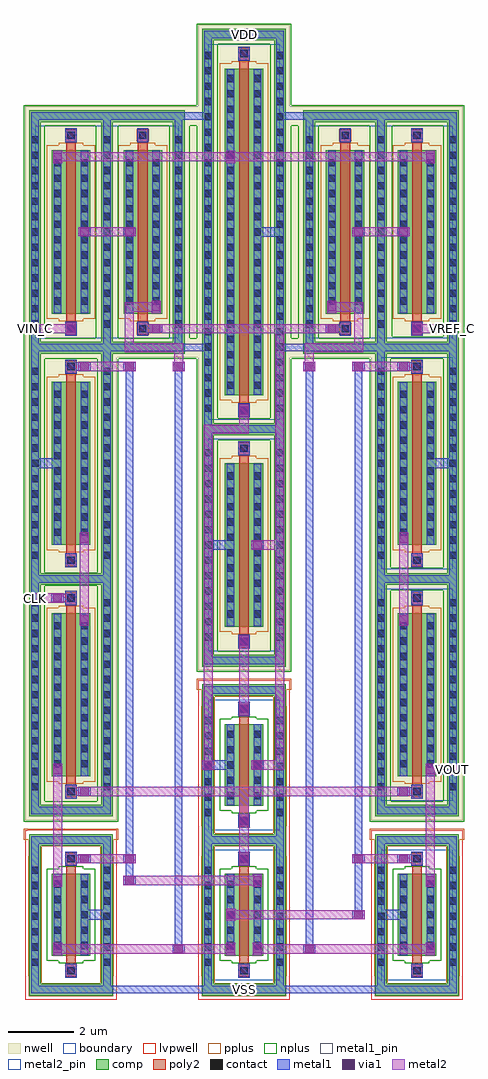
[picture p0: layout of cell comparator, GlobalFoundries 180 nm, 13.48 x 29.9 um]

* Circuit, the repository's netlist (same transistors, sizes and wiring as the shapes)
* NGSPICE file created from comparator.ext - technology: gf180mcuD

.subckt pfet_03v3_7DYXYB a_n118_n500# a_30_n500# a_n36_n629# w_n280_n769#
X0 a_30_n500# a_n36_n629# a_n118_n500# w_n280_n769# pfet_03v3 ad=2.2p pd=10.88u as=2.2p ps=10.88u w=5u l=0.3u
.ends

.subckt nfet_03v3_X7Z8VV a_n256_n495# a_30_n250# a_n36_n379# a_n118_n250#
X0 a_30_n250# a_n36_n379# a_n118_n250# a_n256_n495# nfet_03v3 ad=1.1p pd=5.88u as=1.1p ps=5.88u w=2.5u l=0.3u
.ends

.subckt pfet_03v3_QPXSGW a_30_n1000# w_n280_n1269# a_n118_n1000# a_n36_n1129#
X0 a_30_n1000# a_n36_n1129# a_n118_n1000# w_n280_n1269# pfet_03v3 ad=4.4p pd=20.88u as=4.4p ps=20.88u w=10u l=0.3u
.ends

.subckt comparator VSS VREF_C VIN_C CLK VOUT VDD
Xpfet_03v3_7DYXYB_0 m1_3659_3991# VOUT CLK VDD pfet_03v3_7DYXYB
Xpfet_03v3_7DYXYB_1 m1_3659_3991# VDD a_1529_1971# VDD pfet_03v3_7DYXYB
Xpfet_03v3_7DYXYB_2 VOUT m1_3371_6379# a_2051_5776# VDD pfet_03v3_7DYXYB
Xpfet_03v3_7DYXYB_3 m1_3371_6379# a_1529_5905# VREF_C VDD pfet_03v3_7DYXYB
Xpfet_03v3_7DYXYB_4 VDD a_2051_5776# CLK VDD pfet_03v3_7DYXYB
Xpfet_03v3_7DYXYB_5 a_1529_1971# a_1677_5905# a_2051_5776# VDD pfet_03v3_7DYXYB
Xnfet_03v3_X7Z8VV_0 VSS VOUT a_1529_1971# VSS nfet_03v3_X7Z8VV
Xpfet_03v3_7DYXYB_6 a_1677_5905# a_1529_5905# VIN_C VDD pfet_03v3_7DYXYB
Xnfet_03v3_X7Z8VV_1 VSS a_2051_5776# CLK VSS nfet_03v3_X7Z8VV
Xnfet_03v3_X7Z8VV_2 VSS VOUT CLK a_1529_1971# nfet_03v3_X7Z8VV
Xpfet_03v3_QPXSGW_0 VDD VDD a_1529_5905# VSS pfet_03v3_QPXSGW
X0 a_1677_3069# VOUT VDD VDD pfet_03v3 ad=2.2p pd=10.88u as=2.2p ps=10.88u w=5u l=0.3u
X1 a_1677_3069# CLK a_1529_1971# VDD pfet_03v3 ad=2.2p pd=10.88u as=2.2p ps=10.88u w=5u l=0.3u
X2 VSS VOUT a_1529_1971# VSS nfet_03v3 ad=1.1p pd=5.88u as=1.1p ps=5.88u w=2.5u l=0.3u
.ends

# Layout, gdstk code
from math import pi, radians
import gdstk
lib = gdstk.Library(unit=1e-6, precision=1e-09)
def R(c, l, rs):  # rectangles x0, y0, x1, y1
    for r in rs: c.add(gdstk.rectangle(r[:2], r[2:], *l))
def A(c, l, x, y, w, h, nx, ny, dx, dy):  # array of equal rectangles
    R(c, l, [(x+i*dx, y+j*dy, x+i*dx+w, y+j*dy+h) for i in range(nx) for j in range(ny)])
boundary = (0, 0)
nwell = (21, 0)
comp = (22, 0)
poly2 = (30, 0)
pplus = (31, 0)
nplus = (32, 0)
contact = (33, 0)
metal1 = (34, 0)
metal1_pin = (34, 10)
via1 = (35, 0)
metal2 = (36, 0)
metal2_pin = (36, 10)
lvpwell = (204, 0)

nfet_03v3_x7z8vv = lib.new_cell('nfet_03v3_X7Z8VV')
R(nfet_03v3_x7z8vv, boundary, [(-1.1,-2,1.1,2)])
R(nfet_03v3_x7z8vv, comp, [(-1.28,-2.475,1.28,-2.115), (-1.28,-2.115,-0.92,2.115), (0.92,-2.115,1.28,2.115), (-0.59,-1.25,0.59,1.25), (-1.28,2.115,1.28,2.475)])
R(nfet_03v3_x7z8vv, poly2, [(-0.18,-1.895,0.18,-1.535), (-0.15,-1.535,0.15,1.535), (-0.18,1.535,0.18,1.895)])
R(nfet_03v3_x7z8vv, pplus, [(-1.3,-2.495,1.3,-2.095), (-1.3,-2.095,-0.89,-1.88), (0.89,-2.095,1.3,-1.88), (-1.31,-1.88,-0.89,1.795), (0.89,-1.88,1.31,1.795), (-1.3,1.795,-0.89,2.095), (0.89,1.795,1.3,2.095), (-1.3,2.095,1.3,2.495)])
R(nfet_03v3_x7z8vv, nplus, [(-0.38,-1.48,0.38,-1.41), (-0.75,-1.41,0.75,1.41), (-0.38,1.41,0.38,1.48)])
A(nfet_03v3_x7z8vv, contact, -1.21, -1.565, 0.22, 0.22, 1, 7, 0, 0.47)
A(nfet_03v3_x7z8vv, contact, 0.99, -1.565, 0.22, 0.22, 1, 7, 0, 0.47)
A(nfet_03v3_x7z8vv, contact, -0.52, -1.05, 0.22, 0.22, 1, 5, 0, 0.47)
A(nfet_03v3_x7z8vv, contact, 0.3, -1.05, 0.22, 0.22, 1, 5, 0, 0.47)
R(nfet_03v3_x7z8vv, contact, [(-0.11,-1.825,0.11,-1.605), (-0.11,1.605,0.11,1.825)])
R(nfet_03v3_x7z8vv, metal1, [(-1.215,-2.41,1.215,-2.18), (-1.215,-2.18,-0.985,2.18), (0.985,-2.18,1.215,2.18), (-0.17,-1.93,0.17,-1.5), (-0.525,-1.24,-0.295,1.24), (0.295,-1.24,0.525,1.24), (-0.17,1.5,0.17,1.93), (-1.215,2.18,1.215,2.41)])
R(nfet_03v3_x7z8vv, lvpwell, [(-1.4,-2.595,1.4,2.595)])

pfet_03v3_7dyxyb = lib.new_cell('pfet_03v3_7DYXYB')
R(pfet_03v3_7dyxyb, boundary, [(-1.1,-3.25,1.1,3.25)])
R(pfet_03v3_7dyxyb, nwell, [(-1.4,-3.845,1.4,3.845)])
R(pfet_03v3_7dyxyb, comp, [(-1.28,-3.725,1.28,-3.365), (-1.28,-3.365,-0.92,3.365), (0.92,-3.365,1.28,3.365), (-0.59,-2.5,0.59,2.5), (-1.28,3.365,1.28,3.725)])
R(pfet_03v3_7dyxyb, poly2, [(-0.18,-3.145,0.18,-2.785), (-0.15,-2.785,0.15,2.785), (-0.18,2.785,0.18,3.145)])
R(pfet_03v3_7dyxyb, pplus, [(-0.38,-2.73,0.38,-2.66), (-0.75,-2.66,0.75,2.66), (-0.38,2.66,0.38,2.73)])
R(pfet_03v3_7dyxyb, nplus, [(-1.44,-3.885,1.44,-3.255), (-1.44,-3.255,-0.81,3.255), (0.81,-3.255,1.44,3.255), (-1.44,3.255,1.44,3.885)])
A(pfet_03v3_7dyxyb, contact, -1.21, -2.93, 0.22, 0.22, 1, 13, 0, 0.47)
A(pfet_03v3_7dyxyb, contact, 0.99, -2.93, 0.22, 0.22, 1, 13, 0, 0.47)
A(pfet_03v3_7dyxyb, contact, -0.52, -2.225, 0.22, 0.22, 1, 10, 0, 0.47)
A(pfet_03v3_7dyxyb, contact, 0.3, -2.225, 0.22, 0.22, 1, 10, 0, 0.47)
R(pfet_03v3_7dyxyb, contact, [(-0.11,-3.075,0.11,-2.855), (-0.11,2.855,0.11,3.075)])
R(pfet_03v3_7dyxyb, metal1, [(-1.215,-3.66,1.215,-3.43), (-1.215,-3.43,-0.985,3.43), (0.985,-3.43,1.215,3.43), (-0.17,-3.18,0.17,-2.75), (-0.525,-2.49,-0.295,2.49), (0.295,-2.49,0.525,2.49), (-0.17,2.75,0.17,3.18), (-1.215,3.43,1.215,3.66)])

pfet_03v3_qpxsgw = lib.new_cell('pfet_03v3_QPXSGW')
R(pfet_03v3_qpxsgw, boundary, [(-1.1,-5.75,1.1,5.75)])
R(pfet_03v3_qpxsgw, nwell, [(-1.4,-6.345,1.4,6.345)])
R(pfet_03v3_qpxsgw, comp, [(-1.28,-6.225,1.28,-5.865), (-1.28,-5.865,-0.92,5.865), (0.92,-5.865,1.28,5.865), (-0.59,-5,0.59,5), (-1.28,5.865,1.28,6.225)])
R(pfet_03v3_qpxsgw, poly2, [(-0.18,-5.645,0.18,-5.285), (-0.15,-5.285,0.15,5.285), (-0.18,5.285,0.18,5.645)])
R(pfet_03v3_qpxsgw, pplus, [(-0.38,-5.23,0.38,-5.16), (-0.75,-5.16,0.75,5.16), (-0.38,5.16,0.38,5.23)])
R(pfet_03v3_qpxsgw, nplus, [(-1.44,-6.385,1.44,-5.755), (-1.44,-5.755,-0.81,5.755), (0.81,-5.755,1.44,5.755), (-1.44,5.755,1.44,6.385)])
A(pfet_03v3_qpxsgw, contact, -1.21, -5.515, 0.22, 0.22, 1, 24, 0, 0.47)
A(pfet_03v3_qpxsgw, contact, 0.99, -5.515, 0.22, 0.22, 1, 24, 0, 0.47)
A(pfet_03v3_qpxsgw, contact, -0.52, -4.81, 0.22, 0.22, 1, 21, 0, 0.47)
A(pfet_03v3_qpxsgw, contact, 0.3, -4.81, 0.22, 0.22, 1, 21, 0, 0.47)
R(pfet_03v3_qpxsgw, contact, [(-0.11,-5.575,0.11,-5.355), (-0.11,5.355,0.11,5.575)])
R(pfet_03v3_qpxsgw, metal1, [(-1.215,-6.16,1.215,-5.93), (-1.215,-5.93,-0.985,5.93), (0.985,-5.93,1.215,5.93), (-0.17,-5.68,0.17,-5.25), (-0.525,-4.99,-0.295,4.99), (0.295,-4.99,0.525,4.99), (-0.17,5.25,0.17,5.68), (-1.215,5.93,1.215,6.16)])

comparator = lib.new_cell('comparator')
R(comparator, nwell, [(6.835,14,9.635,28.18), (6.835,28.18,12.155,35.87), (14.915,28.18,15.235,35.87)])
A(comparator, comp, 7.645, 15.345, 1.18, 5, 1, 3, 0, 7.09)
A(comparator, comp, 6.955, 28.66, 0.36, 6.73, 3, 1, 2.2, 0)
R(comparator, comp, [(6.955,8.63,9.515,8.99), (6.955,8.99,7.315,13.22), (9.155,8.99,9.515,13.22), (7.645,9.855,8.825,12.355), (6.955,13.22,9.515,13.58), (6.955,14.12,9.515,14.48), (6.955,14.48,7.315,21.21), (9.155,14.48,9.515,21.21), (6.955,21.21,9.515,21.57), (6.955,21.57,7.315,28.3), (9.155,21.57,9.515,28.3), (6.955,28.3,11.715,28.66), (9.845,29.525,11.025,34.525), (6.955,35.39,11.715,35.75)])
A(comparator, poly2, 8.085, 15.06, 0.3, 5.57, 1, 3, 0, 7.09)
R(comparator, poly2, [(8.055,9.21,8.415,9.57), (8.085,9.57,8.385,12.64), (8.055,12.64,8.415,13), (8.055,14.7,8.415,15.06), (8.055,20.63,8.415,20.99), (8.055,21.79,8.415,22.15), (8.055,27.72,8.415,28.08), (8.055,28.88,8.415,29.24), (10.255,28.88,10.615,29.24), (10.285,29.24,10.585,34.81), (8.055,34.81,8.415,35.17), (10.255,34.81,10.615,35.17)])
A(comparator, pplus, 7.485, 15.185, 1.5, 5.32, 1, 3, 0, 7.09)
R(comparator, pplus, [(6.935,8.61,9.535,9.01), (6.935,9.01,7.345,9.225), (9.125,9.01,9.535,9.225), (6.925,9.225,7.345,12.9), (9.125,9.225,9.545,12.9), (6.935,12.9,7.345,13.2), (9.125,12.9,9.535,13.2), (6.935,13.2,9.535,13.41), (6.795,13.41,9.675,13.74), (17.395,13.41,17.535,13.6), (20.135,13.41,20.275,13.6), (17.395,13.6,20.275,13.74), (7.855,15.115,8.615,15.185), (12.095,18,12.235,18.19), (14.835,18,14.975,18.19), (12.095,18.19,14.975,18.33), (7.855,20.505,8.615,20.575), (7.855,22.205,8.615,22.275), (7.855,27.595,8.615,27.665), (7.855,29.295,8.615,29.365), (10.055,29.295,10.815,29.365), (9.685,29.365,11.185,34.685), (7.855,34.685,8.615,34.755), (10.055,34.685,10.815,34.755)])
R(comparator, nplus, [(7.855,9.625,8.615,9.695), (7.485,9.695,8.985,12.515), (7.855,12.515,8.615,12.585), (6.795,13.96,9.675,14.59), (6.795,14.59,7.425,21.19), (9.045,14.59,9.675,21.19), (6.795,21.19,9.675,21.59), (6.795,21.59,7.425,28.28), (9.045,21.59,9.675,28.14), (9.045,28.14,12.095,28.28), (14.975,28.14,15.195,28.77), (6.795,28.28,12.095,28.68), (6.795,28.68,7.425,35.28), (9.045,28.68,12.095,28.77), (9.125,28.77,9.545,35.28), (11.325,28.77,11.745,35.28), (6.795,35.28,12.095,35.91), (14.975,35.28,15.195,35.91)])
A(comparator, contact, 7.025, 9.54, 0.22, 0.22, 1, 7, 0, 0.47)
A(comparator, contact, 9.225, 9.54, 0.22, 0.22, 1, 7, 0, 0.47)
A(comparator, contact, 7.715, 10.055, 0.22, 0.22, 1, 5, 0, 0.47)
A(comparator, contact, 8.535, 10.055, 0.22, 0.22, 1, 5, 0, 0.47)
A(comparator, contact, 7.025, 14.915, 0.22, 0.22, 1, 13, 0, 0.47)
A(comparator, contact, 9.225, 14.915, 0.22, 0.22, 1, 13, 0, 0.47)
A(comparator, contact, 7.715, 15.62, 0.22, 0.22, 1, 10, 0, 0.47)
A(comparator, contact, 8.535, 15.62, 0.22, 0.22, 1, 10, 0, 0.47)
A(comparator, contact, 7.025, 22.005, 0.22, 0.22, 1, 13, 0, 0.47)
A(comparator, contact, 9.225, 22.005, 0.22, 0.22, 1, 13, 0, 0.47)
A(comparator, contact, 7.715, 22.71, 0.22, 0.22, 1, 10, 0, 0.47)
A(comparator, contact, 8.535, 22.71, 0.22, 0.22, 1, 10, 0, 0.47)
A(comparator, contact, 7.025, 29.095, 0.22, 0.22, 3, 13, 2.2, 0.47)
A(comparator, contact, 7.715, 29.8, 0.22, 0.22, 1, 10, 0, 0.47)
A(comparator, contact, 8.535, 29.8, 0.22, 0.22, 1, 10, 0, 0.47)
A(comparator, contact, 9.915, 29.8, 0.22, 0.22, 1, 10, 0, 0.47)
A(comparator, contact, 10.735, 29.8, 0.22, 0.22, 1, 10, 0, 0.47)
R(comparator, contact, [(8.125,9.28,8.345,9.5), (8.125,12.71,8.345,12.93), (8.125,14.77,8.345,14.99), (8.125,20.7,8.345,20.92), (8.125,21.86,8.345,22.08), (8.125,27.79,8.345,28.01), (8.125,28.95,8.345,29.17), (10.325,28.95,10.545,29.17), (8.125,34.88,8.345,35.1), (10.325,34.88,10.545,35.1)])
A(comparator, metal1, 7.02, 28.595, 0.23, 6.86, 3, 1, 2.2, 0)
R(comparator, metal1, [(7.02,8.695,18.91,8.925), (7.02,8.925,7.25,13.285), (9.22,8.925,9.45,10.955), (8.065,9.175,8.405,9.605), (7.695,9.865,7.955,10.245), (8.53,9.865,8.76,10.955), (12.995,9.865,13.255,10.245), (13.815,9.865,14.075,10.245), (19.115,9.865,19.375,10.245), (11.345,9.925,11.725,10.185), (15.345,9.925,15.725,10.185), (11.42,10.185,11.65,27.77), (15.42,10.185,15.65,27.77), (7.71,10.245,7.94,11.965), (12.995,10.915,13.27,11.295), (8.53,10.955,9.45,11.255), (17.715,10.955,18.32,11.255), (16.855,10.975,17.235,11.235), (16.93,11.235,17.16,12.69), (8.53,11.255,8.76,12.345), (9.22,11.255,9.45,13.285), (7.695,11.965,7.955,12.345), (13.815,11.965,14.075,12.345), (19.115,11.965,19.375,12.345), (9.835,12.025,10.215,12.285), (9.91,12.285,10.14,12.69), (8.065,12.605,8.405,12.69), (8.065,12.69,8.835,12.95), (9.835,12.69,10.215,12.95), (13.405,12.69,13.665,12.95), (16.855,12.69,17.235,12.95), (18.235,12.69,18.79,12.955), (8.065,12.95,8.405,13.035), (9.91,12.95,10.14,27.77), (16.93,12.95,17.16,27.77), (7.02,13.285,9.45,13.515), (13.405,13.85,13.665,14.11), (7.02,14.185,9.45,14.415), (7.02,14.415,7.25,21.275), (9.22,14.415,9.45,21.275), (8.065,14.665,8.405,14.75), (8.065,14.75,8.835,15.01), (18.235,14.75,18.69,15.01), (8.065,15.01,8.405,15.095), (7.695,15.355,7.955,15.735), (8.53,15.355,8.76,19.955), (19.115,15.355,19.375,15.735), (12.44,15.545,13.145,15.565), (12.245,15.565,13.145,15.695), (13.755,15.565,14.135,15.825), (12.245,15.695,13.15,15.825), (7.71,15.735,7.94,20.335), (12.445,15.825,13.15,15.845), (13.405,17.28,13.665,17.54), (13.405,19.34,13.665,19.6), (8.515,19.955,8.775,20.335), (18.295,19.955,18.555,20.335), (8.065,20.595,8.405,20.68), (7.635,20.68,8.405,20.94), (8.065,20.94,8.405,21.025), (7.02,21.275,9.45,21.505), (7.02,21.505,7.25,24.785), (9.22,21.505,9.45,28.365), (8.065,21.755,8.405,22.185), (12.425,22.285,13.14,22.435), (13.755,22.305,14.135,22.565), (12.43,22.435,13.145,22.585), (7.71,22.445,7.94,24.785), (8.515,22.445,8.775,22.825), (18.295,22.445,18.555,22.825), (8.53,22.825,8.76,27.425), (7.02,24.785,7.94,25.085), (19.33,24.785,19.88,25.085), (7.02,25.085,7.25,28.365), (7.71,25.085,7.94,27.425), (13.405,26.43,13.665,26.69), (8.065,27.685,8.405,27.77), (8.065,27.77,8.835,28.03), (9.835,27.77,10.215,28.03), (11.345,27.77,11.725,28.03), (15.345,27.77,15.725,28.03), (16.855,27.77,17.235,28.03), (18.235,27.77,18.68,28.03), (8.065,28.03,8.405,28.115), (7.02,28.365,12.51,28.595), (14.535,28.365,15.455,28.595), (8.065,28.845,8.405,29.275), (10.265,28.845,10.605,28.93), (10.265,28.93,11.035,29.19), (16.035,28.93,16.47,29.19), (18.705,28.93,18.965,29.19), (10.265,29.19,10.605,29.275), (7.71,29.535,7.94,34.135), (8.53,29.535,8.76,31.895), (9.91,29.535,10.14,31.895), (10.715,29.535,10.975,29.915), (16.095,29.535,16.355,29.915), (10.73,29.915,10.96,34.515), (13.83,31.875,14.53,32.175), (8.455,31.895,8.835,32.155), (9.835,31.895,10.215,32.155), (16.855,31.895,17.235,32.155), (18.235,31.895,18.615,32.155), (8.53,32.155,8.76,34.515), (9.91,32.155,10.14,34.515), (7.695,34.135,7.955,34.515), (12.995,34.135,13.255,34.515), (19.115,34.135,19.375,34.515), (8.065,34.775,8.405,35.205), (10.265,34.775,10.605,35.205), (7.02,35.455,12.32,35.685), (14.73,35.455,15.65,35.685), (13.42,37.955,13.65,38.185)])
R(comparator, metal1_pin, [(13.42,8.695,13.65,8.925), (13.42,37.955,13.65,38.185)])
A(comparator, via1, 9.895, 12.69, 0.26, 0.26, 3, 1, 3.51, 0)
R(comparator, via1, [(7.695,9.925,7.955,10.185), (11.405,9.925,11.665,10.185), (12.995,9.925,13.255,10.185), (13.815,9.925,14.075,10.185), (15.405,9.925,15.665,10.185), (19.115,9.925,19.375,10.185), (13,10.975,13.26,11.235), (16.915,10.975,17.175,11.235), (7.695,12.025,7.955,12.285), (9.895,12.025,10.155,12.285), (13.815,12.025,14.075,12.285), (19.115,12.025,19.375,12.285), (8.515,12.69,8.775,12.95), (18.295,12.69,18.555,12.95), (13.405,13.85,13.665,14.11), (8.515,14.75,8.775,15.01), (18.295,14.75,18.555,15.01), (7.695,15.415,7.955,15.675), (19.115,15.415,19.375,15.675), (12.305,15.565,12.565,15.825), (13.815,15.565,14.075,15.825), (13.405,17.28,13.665,17.54), (13.405,19.34,13.665,19.6), (8.515,20.015,8.775,20.275), (18.295,20.015,18.555,20.275), (7.695,20.68,7.955,20.94), (13.815,22.305,14.075,22.565), (8.515,22.505,8.775,22.765), (18.295,22.505,18.555,22.765), (13.405,26.43,13.665,26.69), (8.515,27.77,8.775,28.03), (9.895,27.77,10.155,28.03), (11.405,27.77,11.665,28.03), (15.405,27.77,15.665,28.03), (16.915,27.77,17.175,28.03), (18.295,27.77,18.555,28.03), (8.105,28.93,8.365,29.19), (10.715,28.93,10.975,29.19), (16.095,28.93,16.355,29.19), (18.705,28.93,18.965,29.19), (10.715,29.595,10.975,29.855), (16.095,29.595,16.355,29.855), (8.515,31.895,8.775,32.155), (9.895,31.895,10.155,32.155), (16.915,31.895,17.175,32.155), (18.295,31.895,18.555,32.155), (7.695,34.195,7.955,34.455), (12.995,34.195,13.255,34.455), (19.115,34.195,19.375,34.455)])
R(comparator, metal2, [(7.685,9.865,7.965,9.915), (12.985,9.865,13.265,9.915), (13.805,9.865,14.085,9.915), (19.105,9.865,19.385,9.915), (7.685,9.915,13.265,10.195), (13.805,9.915,19.385,10.195), (7.685,10.195,7.965,10.245), (12.985,10.195,13.265,10.245), (13.805,10.195,14.085,10.245), (19.105,10.195,19.385,10.245), (12.985,10.915,13.28,10.965), (12.985,10.965,17.235,11.245), (12.985,11.245,13.28,11.295), (7.685,11.965,7.965,15.735), (13.805,11.965,14.085,12.015), (19.105,11.965,19.385,15.405), (9.835,12.015,14.085,12.295), (13.805,12.295,14.085,12.345), (13.395,12.63,13.675,14.74), (8.455,12.68,10.215,12.96), (16.855,12.68,18.615,12.96), (8.455,14.74,18.615,15.02), (19.105,15.405,20.075,15.685), (12.245,15.555,12.625,15.835), (13.755,15.555,14.775,15.835), (19.105,15.685,19.385,15.735), (12.295,15.835,12.575,25.84), (14.495,15.835,14.775,22.295), (13.395,17.22,13.675,19.66), (8.505,19.955,8.785,22.825), (18.285,19.955,18.565,22.825), (6.995,20.67,8.015,20.95), (13.755,22.295,14.775,22.575), (14.495,22.575,14.775,28.92), (12.295,25.84,13.675,26.12), (13.395,26.12,13.675,26.75), (8.455,27.76,10.215,28.04), (11.345,27.76,11.725,28.04), (15.345,27.76,15.725,28.04), (16.855,27.76,18.615,28.04), (11.395,28.04,11.675,28.34), (15.395,28.04,15.675,28.34), (9.885,28.34,11.675,28.62), (15.395,28.34,17.185,28.62), (9.885,28.62,10.165,29.585), (16.905,28.62,17.185,29.585), (8.095,28.87,8.375,28.92), (18.695,28.87,18.975,28.92), (6.995,28.92,8.375,29.2), (10.655,28.92,16.415,29.2), (18.695,28.92,20.075,29.2), (8.095,29.2,8.375,29.25), (18.695,29.2,18.975,29.25), (10.705,29.535,10.985,29.585), (16.085,29.535,16.365,29.585), (9.885,29.585,10.985,29.865), (16.085,29.585,17.185,29.865), (10.705,29.865,10.985,29.915), (16.085,29.865,16.365,29.915), (8.455,31.885,10.215,32.165), (16.855,31.885,18.615,32.165), (7.685,34.135,7.965,34.185), (12.985,34.135,13.265,34.185), (19.105,34.135,19.385,34.185), (7.685,34.185,19.385,34.465), (7.685,34.465,7.965,34.515), (12.985,34.465,13.265,34.515), (19.105,34.465,19.385,34.515)])
R(comparator, metal2_pin, [(19.795,15.405,20.075,15.685), (6.995,20.67,7.275,20.95), (6.995,28.92,7.275,29.2), (19.795,28.92,20.075,29.2)])
R(comparator, lvpwell, [(6.835,8.51,9.635,13.7), (6.915,13.7,9.635,13.705)])
comparator.add(gdstk.Reference(nfet_03v3_x7z8vv, (13.535,15.695)))
comparator.add(gdstk.Reference(nfet_03v3_x7z8vv, (13.535,11.105)))
comparator.add(gdstk.Reference(pfet_03v3_7dyxyb, (13.535,22.435)))
comparator.add(gdstk.Reference(nfet_03v3_x7z8vv, (18.835,11.105)))
comparator.add(gdstk.Reference(pfet_03v3_7dyxyb, (18.835,17.845)))
comparator.add(gdstk.Reference(pfet_03v3_7dyxyb, (18.835,24.935)))
comparator.add(gdstk.Reference(pfet_03v3_7dyxyb, (10.435,32.025), rotation=pi, x_reflection=True))
comparator.add(gdstk.Reference(pfet_03v3_7dyxyb, (8.235,32.025), rotation=pi, x_reflection=True))
comparator.add(gdstk.Reference(pfet_03v3_7dyxyb, (16.635,32.025)))
comparator.add(gdstk.Reference(pfet_03v3_qpxsgw, (13.535,32.025)))
comparator.add(gdstk.Reference(pfet_03v3_7dyxyb, (18.835,32.025)))
comparator.add(gdstk.Label('VSS', (13.535,8.81), layer=34, texttype=10))
comparator.add(gdstk.Label('VREF_C', (19.935,29.06), layer=36, texttype=10))
comparator.add(gdstk.Label('VIN_C', (7.135,29.06), layer=36, texttype=10))
comparator.add(gdstk.Label('CLK', (7.135,20.81), layer=36, texttype=10))
comparator.add(gdstk.Label('VOUT', (19.935,15.545), layer=36, texttype=10))
comparator.add(gdstk.Label('VDD', (13.535,38.07), layer=34, texttype=10))

lib.write_gds('comparator.gds')
